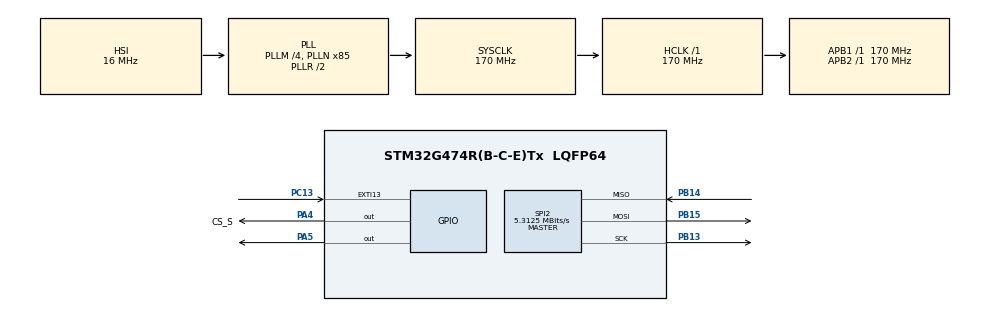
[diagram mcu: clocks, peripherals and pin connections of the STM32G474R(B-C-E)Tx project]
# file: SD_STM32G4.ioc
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FATFS._MAX_SS=4096
FATFS._USE_LFN=1
Mcu.Family=STM32G4
Mcu.Name=STM32G474R(B-C-E)Tx
Mcu.Package=LQFP64
NUCLEO-G474RE.BUTTON=1
NUCLEO-G474RE.LD2=true
NUCLEO-G474RE.VCP=true
NVIC.EXTI15_10_IRQn=true\:0\:0\:false\:false\:true\:true\:true\:true
NVIC.PriorityGroup=NVIC_PRIORITYGROUP_4
PA13.GPIO_Label=T_SWDIO
PA13.Signal=SYS_JTMS-SWDIO
PA14.GPIO_Label=T_SWCLK
PA14.Signal=SYS_JTCK-SWCLK
PA2.Signal=LPUART1_TX
PA3.Signal=LPUART1_RX
PA4.GPIO_Label=CS_S
PA4.GPIO_Speed=GPIO_SPEED_FREQ_MEDIUM
PA4.PinState=GPIO_PIN_SET
PA4.Signal=GPIO_Output
PA5.Signal=GPIO_Output
PB13.Mode=Full_Duplex_Master
PB13.Signal=SPI2_SCK
PB14.Mode=Full_Duplex_Master
PB14.Signal=SPI2_MISO
PB15.Mode=Full_Duplex_Master
PB15.Signal=SPI2_MOSI
PB3.GPIO_Label=T_SWO
PB3.Signal=SYS_JTDO-SWO
PC13.Signal=GPXTI13
PC14-OSC32_IN.GPIO_Label=RCC_OSC32_IN
PC14-OSC32_IN.Signal=RCC_OSC32_IN
PC15-OSC32_OUT.GPIO_Label=RCC_OSC32_OUT
PC15-OSC32_OUT.Signal=RCC_OSC32_OUT
PF0-OSC_IN.GPIO_Label=RCC_OSC_IN
PF0-OSC_IN.Signal=RCC_OSC_IN
PF1-OSC_OUT.GPIO_Label=RCC_OSC_OUT
PF1-OSC_OUT.Signal=RCC_OSC_OUT
ProjectManager.HeapSize=0x200
ProjectManager.StackSize=0x400
ProjectManager.TargetToolchain=STM32CubeIDE
RCC.ADC12Freq_Value=170000000
RCC.ADC345Freq_Value=170000000
RCC.AHBFreq_Value=170000000
RCC.APB1Freq_Value=170000000
RCC.APB1TimFreq_Value=170000000
RCC.APB2Freq_Value=170000000
RCC.APB2TimFreq_Value=170000000
RCC.CortexFreq_Value=170000000
RCC.EXTERNAL_CLOCK_VALUE=12288000
RCC.HCLKFreq_Value=170000000
RCC.HSE_VALUE=24000000
RCC.HSI48_VALUE=48000000
RCC.HSI_VALUE=16000000
RCC.LSE_VALUE=32768
RCC.PLLM=RCC_PLLM_DIV4
RCC.PLLN=85
RCC.RTCClockSelection=RCC_RTCCLKSOURCE_LSE
RCC.SYSCLKFreq_VALUE=170000000
RCC.SYSCLKSource=RCC_SYSCLKSOURCE_PLLCLK
RCC.USBFreq_Value=170000000
RCC.VCOOutputFreq_Value=340000000
SPI2.BaudRatePrescaler=SPI_BAUDRATEPRESCALER_32
SPI2.CalculateBaudRate=5.3125 MBits/s
SPI2.DataSize=SPI_DATASIZE_8BIT
SPI2.Direction=SPI_DIRECTION_2LINES
SPI2.Mode=SPI_MODE_MASTER
SPI2.VirtualType=VM_MASTER
VP_FATFS_VS_Generic.Mode=User_defined
VP_NUCLEO-G474RE_VS_BSP_COMMON.Mode=COMMON
VP_SYS_VS_DBSignals.Mode=DisableDeadBatterySignals
board=NUCLEO-G474RE

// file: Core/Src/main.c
/* USER CODE BEGIN Header */
/**
  ******************************************************************************
  * @file           : main.c
  * @brief          : Main program body
  ******************************************************************************
  * @attention
  *
  * Copyright (c) 2024 STMicroelectronics.
  * All rights reserved.
  *
  * This software is licensed under terms that can be found in the LICENSE file
  * in the root directory of this software component.
  * If no LICENSE file comes with this software, it is provided AS-IS.
  *
  ******************************************************************************
  */
/* USER CODE END Header */
#include "main.h"
#include "app_fatfs.h"

COM_InitTypeDef BspCOMInit;
SPI_HandleTypeDef hspi2;

/* USER CODE BEGIN PV */
FATFS fs;
FATFS *pfs;
FIL fil;
FRESULT fres;
DWORD fre_clust;
uint32_t totalSpace, freeSpace;
char buffer[100];

/*----------------------------PV Puerto Serie ----------------------------------------*/
//sprintf descarta el volatile cuando se pasa por argumento en la funcion
//Volatile hace referencia a que es una variable que se usara dentro de interrupciones
//Static se usa para variables locales dentro del archivo
static char tx_buff[100];
static volatile uint8_t buff_length;
/* USER CODE END PV */

void SystemClock_Config(void);
static void MX_GPIO_Init(void);
static void MX_SPI2_Init(void);

int main(void)
{

  /* MCU Configuration--------------------------------------------------------*/

  /* Reset of all peripherals, Initializes the Flash interface and the Systick. */
  HAL_Init();

  /* Configure the system clock */
  SystemClock_Config();

  /* Initialize all configured peripherals */
  MX_GPIO_Init();
  MX_SPI2_Init();
  if (MX_FATFS_Init() != APP_OK) {
    Error_Handler();
  }

  /* Initialize led */
  BSP_LED_Init(LED_GREEN);

  /* Initialize USER push-button, will be used to trigger an interrupt each time it's pressed.*/
  BSP_PB_Init(BUTTON_USER, BUTTON_MODE_EXTI);

  /* Initialize COM1 port (115200, 8 bits (7-bit data + 1 stop bit), no parity */
  BspCOMInit.BaudRate   = 115200;
  BspCOMInit.WordLength = COM_WORDLENGTH_8B;
  BspCOMInit.StopBits   = COM_STOPBITS_1;
  BspCOMInit.Parity     = COM_PARITY_NONE;
  BspCOMInit.HwFlowCtl  = COM_HWCONTROL_NONE;
  if (BSP_COM_Init(COM1, &BspCOMInit) != BSP_ERROR_NONE)
  {
    Error_Handler();
  }

  /* Infinite loop */
  /* USER CODE BEGIN WHILE */

	/* Wait for SD module reset */
	HAL_Delay(500);
	buff_length = sprintf(tx_buff, "Inicio de prueba\r\n");
	HAL_UART_Transmit(&hcom_uart[COM1],  (uint8_t *)tx_buff, buff_length, 100);

	/* Mount SD Card */
	if(f_mount(&fs, "", 0) != FR_OK)
		Error_Handler();

	/* Open file to write */
	if(f_open(&fil, "first.txt", FA_OPEN_ALWAYS | FA_READ | FA_WRITE) != FR_OK)
		Error_Handler();

	/* Check freeSpace space */
	if(f_getfree("", &fre_clust, &pfs) != FR_OK)
		Error_Handler();

	totalSpace = (uint32_t)((pfs->n_fatent - 2) * pfs->csize * 0.5);
	freeSpace = (uint32_t)(fre_clust * pfs->csize * 0.5);

	/* free space is less than 1kb */
	if(freeSpace < 1)
		Error_Handler();

	/* Writing text */
	f_puts("STM32 SD Card I/O Example via SPI\r\n", &fil);
	f_puts("Save the world!!!\r\n", &fil);

	/* Close file */
	if(f_close(&fil) != FR_OK)
		Error_Handler();

	/* Open file to read */
	if(f_open(&fil, "first.txt", FA_READ) != FR_OK)
		Error_Handler();

	while(f_gets(buffer, sizeof(buffer), &fil))
	{
		/* SWV output */
		printf("%s", buffer);
		fflush(stdout);
		buff_length = sprintf(tx_buff, "%s", buffer);
		HAL_UART_Transmit(&hcom_uart[COM1],  (uint8_t *)tx_buff, buff_length, 100);
	}

	/* Close file */
	if(f_close(&fil) != FR_OK)
		Error_Handler();

	/* Unmount SDCARD */
	if(f_mount(NULL, "", 1) != FR_OK)
		Error_Handler();
	buff_length = sprintf(tx_buff, "FIN de prueba\r\n");
	HAL_UART_Transmit(&hcom_uart[COM1],  (uint8_t *)tx_buff, buff_length, 100);

  while (1)
  {

    /* USER CODE END WHILE */

  }
}

void SystemClock_Config(void)
{
  RCC_OscInitTypeDef RCC_OscInitStruct = {0};
  RCC_ClkInitTypeDef RCC_ClkInitStruct = {0};

  /** Configure the main internal regulator output voltage
  */
  HAL_PWREx_ControlVoltageScaling(PWR_REGULATOR_VOLTAGE_SCALE1_BOOST);

  /** Initializes the RCC Oscillators according to the specified parameters
  * in the RCC_OscInitTypeDef structure.
  */
  RCC_OscInitStruct.OscillatorType = RCC_OSCILLATORTYPE_HSI;
  RCC_OscInitStruct.HSIState = RCC_HSI_ON;
  RCC_OscInitStruct.HSICalibrationValue = RCC_HSICALIBRATION_DEFAULT;
  RCC_OscInitStruct.PLL.PLLState = RCC_PLL_ON;
  RCC_OscInitStruct.PLL.PLLSource = RCC_PLLSOURCE_HSI;
  RCC_OscInitStruct.PLL.PLLM = RCC_PLLM_DIV4;
  RCC_OscInitStruct.PLL.PLLN = 85;
  RCC_OscInitStruct.PLL.PLLP = RCC_PLLP_DIV2;
  RCC_OscInitStruct.PLL.PLLQ = RCC_PLLQ_DIV2;
  RCC_OscInitStruct.PLL.PLLR = RCC_PLLR_DIV2;
  if (HAL_RCC_OscConfig(&RCC_OscInitStruct) != HAL_OK)
  {
    Error_Handler();
  }

  /** Initializes the CPU, AHB and APB buses clocks
  */
  RCC_ClkInitStruct.ClockType = RCC_CLOCKTYPE_HCLK|RCC_CLOCKTYPE_SYSCLK
                              |RCC_CLOCKTYPE_PCLK1|RCC_CLOCKTYPE_PCLK2;
  RCC_ClkInitStruct.SYSCLKSource = RCC_SYSCLKSOURCE_PLLCLK;
  RCC_ClkInitStruct.AHBCLKDivider = RCC_SYSCLK_DIV1;
  RCC_ClkInitStruct.APB1CLKDivider = RCC_HCLK_DIV1;
  RCC_ClkInitStruct.APB2CLKDivider = RCC_HCLK_DIV1;

  if (HAL_RCC_ClockConfig(&RCC_ClkInitStruct, FLASH_LATENCY_4) != HAL_OK)
  {
    Error_Handler();
  }
}

static void MX_SPI2_Init(void)
{

  /* SPI2 parameter configuration*/
  hspi2.Instance = SPI2;
  hspi2.Init.Mode = SPI_MODE_MASTER;
  hspi2.Init.Direction = SPI_DIRECTION_2LINES;
  hspi2.Init.DataSize = SPI_DATASIZE_8BIT;
  hspi2.Init.CLKPolarity = SPI_POLARITY_LOW;
  hspi2.Init.CLKPhase = SPI_PHASE_1EDGE;
  hspi2.Init.NSS = SPI_NSS_SOFT;
  hspi2.Init.BaudRatePrescaler = SPI_BAUDRATEPRESCALER_32;
  hspi2.Init.FirstBit = SPI_FIRSTBIT_MSB;
  hspi2.Init.TIMode = SPI_TIMODE_DISABLE;
  hspi2.Init.CRCCalculation = SPI_CRCCALCULATION_DISABLE;
  hspi2.Init.CRCPolynomial = 7;
  hspi2.Init.CRCLength = SPI_CRC_LENGTH_DATASIZE;
  hspi2.Init.NSSPMode = SPI_NSS_PULSE_ENABLE;
  if (HAL_SPI_Init(&hspi2) != HAL_OK)
  {
    Error_Handler();
  }

}

static void MX_GPIO_Init(void)
{
  GPIO_InitTypeDef GPIO_InitStruct = {0};

  /* GPIO Ports Clock Enable */
  __HAL_RCC_GPIOC_CLK_ENABLE();
  __HAL_RCC_GPIOF_CLK_ENABLE();
  __HAL_RCC_GPIOA_CLK_ENABLE();
  __HAL_RCC_GPIOB_CLK_ENABLE();

  /*Configure GPIO pin Output Level */
  HAL_GPIO_WritePin(CS_S_GPIO_Port, CS_S_Pin, GPIO_PIN_SET);

  /*Configure GPIO pin : CS_S_Pin */
  GPIO_InitStruct.Pin = CS_S_Pin;
  GPIO_InitStruct.Mode = GPIO_MODE_OUTPUT_PP;
  GPIO_InitStruct.Pull = GPIO_NOPULL;
  GPIO_InitStruct.Speed = GPIO_SPEED_FREQ_MEDIUM;
  HAL_GPIO_Init(CS_S_GPIO_Port, &GPIO_InitStruct);

}

void Error_Handler(void)
{
  /* USER CODE BEGIN Error_Handler_Debug */
	buff_length = sprintf(tx_buff, "Error Prueba SD: \r\n");
	HAL_UART_Transmit(&hcom_uart[COM1],  (uint8_t *)tx_buff, buff_length, 100);
  /* User can add his own implementation to report the HAL error return state */
  __disable_irq();
  while (1)
  {
  }
  /* USER CODE END Error_Handler_Debug */
}
